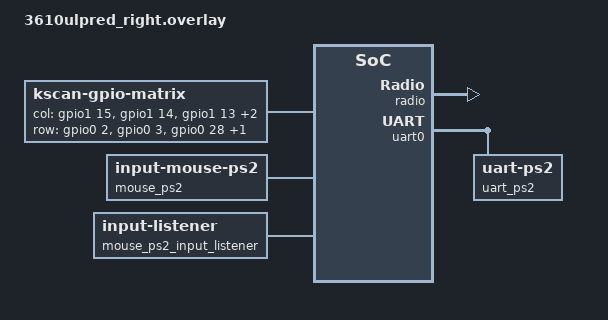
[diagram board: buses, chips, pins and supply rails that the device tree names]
#include "3610ulpred.dtsi"
#include <dt-bindings/zmk/input_transform.h>
#include <input/processors.dtsi>

&default_transform {
	col-offset = <5>;
};

/{
    kscan0: kscan {
        compatible = "zmk,kscan-gpio-matrix";
        label = "KSCAN";
        diode-direction = "col2row";
    // Right half: kscan col index 0 = innermost physical column.
    // Net names on the right sheet run col10 (inner) -> col14 (outer).
    col-gpios
    	= <&gpio1 15 GPIO_ACTIVE_HIGH>//net col10, P1.15 (transform col 5, inner)
        , <&gpio1 14 GPIO_ACTIVE_HIGH>//net col11, P1.14 (transform col 6)
        , <&gpio1 13 GPIO_ACTIVE_HIGH>//net col12, P1.13 (transform col 7)
        , <&gpio1 12 GPIO_ACTIVE_HIGH>//net col13, P1.12 (transform col 8)
        , <&gpio1 11 GPIO_ACTIVE_HIGH>//net col14, P1.11 (transform col 9, outer)
        ;
	row-gpios
        = <&gpio0 2 (GPIO_ACTIVE_HIGH | GPIO_PULL_DOWN)>   //net row10, P0.02 (top)
        , <&gpio0 3 (GPIO_ACTIVE_HIGH | GPIO_PULL_DOWN)>   //net row11, P0.03
        , <&gpio0 28 (GPIO_ACTIVE_HIGH | GPIO_PULL_DOWN)>  //net row12, P0.28
        , <&gpio0 29 (GPIO_ACTIVE_HIGH | GPIO_PULL_DOWN)>  //net row13, P0.29 (bottom)
        ;
    };
};

/*
 * PS/2 TrackPoint via UART (kb_zmk_ps2_mouse_trackpoint_driver module) — ENABLED
 *
 * Hardware chain: Sprintek SK8707-50/51 pointing stick -> 36daughter2 board
 * (module in J5, 8-pin FPC) -> daughter J1/J2 12-pin bus -> keyboard J3.
 * Daughter J5 maps the SK8707 pins onto the J3 bus nets as:
 *   SK8707 1 VCC      -> +3V3
 *   SK8707 2 IPD RST  -> daughter J5 pin 2 = CS/SS net = P0.31 (XIAO Plus only)
 *                        regular XIAO: RST driven on NFC2/P0.10 (net DR, J3 pin 5);
 *                        daughter2 currently lands DR on J5 pin 7 — route DR to
 *                        J5 pin 2 for the regular-XIAO option. Active high, int. pull-down.
 *   SK8707 3 GND      -> GND
 *   SK8707 4 IPD DATA -> SDA net    = P0.04  (UART RX)
 *   SK8707 5 IPD CLK  -> SCL net    = P0.05  (GPIO)
 *   SK8707 6/7/8 LEFT/MIDDLE/RIGHT -> MOSI/DR/MISO nets — buttons unused
 *   Dummy UART TX:        P0.27  (internal, not exposed)
 *   Dummy UART RX (off):  P1.01  (net EncoderA/GPIO1 — unused, parking only)
 *
 * Build the right half with:
 *   -DZMK_EXTRA_MODULES="/workspaces/zmk/app/kb_zmk_ps2_mouse_trackpoint_driver-main"
 */
#define MOUSE_PS2_DRIVER_UART

#define MOUSE_PS2_PIN_SCL <&gpio0 5 GPIO_ACTIVE_HIGH>
#define MOUSE_PS2_PIN_SDA <&gpio0 4 GPIO_ACTIVE_HIGH>
#define MOUSE_PS2_PIN_SDA_PINCTRL <NRF_PSEL(UART_RX, 0, 4)>
/* RST pin — pick by XIAO variant. RST is a static/low-frequency signal, so any
 * GPIO qualifies; the choice is about which pads the module exposes:
 *   regular XIAO nRF52840: NFC2 / P0.10 (net DR). NFC1/NFC2 are released as
 *                          GPIOs by the &uicr { nfct-pins-as-gpios; } node below.
 *   XIAO nRF52840 Plus:    P0.31 (net CS/SS) — only the Plus exposes P0.31 (D16). */
#define MOUSE_PS2_PIN_RST <&gpio0 10 GPIO_ACTIVE_HIGH>   /* regular XIAO: NFC2 P0.10 (net DR) */
// #define MOUSE_PS2_PIN_RST <&gpio0 31 GPIO_ACTIVE_HIGH>   /* XIAO Plus: P0.31 (net CS/SS) */

#define MOUSE_PS2_UART_BAUD_RATE <14400>

#define MOUSE_PS2_PIN_UNEXPOSED_TX <NRF_PSEL(UART_TX, 0, 27)>
#define MOUSE_PS2_PIN_UNEXPOSED_RX <NRF_PSEL(UART_RX, 1, 1)>

/*
 * Regular XIAO nRF52840: release NFC1/NFC2 (P0.09/P0.10) as plain GPIOs.
 * Zephyr 4.1: this devicetree property is the current mechanism; the old
 * CONFIG_NFCT_PINS_AS_GPIOS Kconfig still exists but is marked DEPRECATED.
 * hal_nordic turns the property into the NFCT_PINS_AS_GPIOS define for the MDK,
 * which writes UICR.NFCPINS once on first boot (persists until a UICR erase).
 * Harmless on a XIAO Plus.
 */
&uicr {
    nfct-pins-as-gpios;
};

/*
 * Interrupt priority overrides — gpiote at highest (0), all others demoted to 3
 * (required by the PS/2 driver for reliable bit timing on nRF52)
 */
&gpiote { interrupts = < 6 0 >; };
&clock { interrupts = < 0 3 >; };
&power { interrupts = < 0 3 >; };
&radio { interrupts = < 1 3 >; };
&uart0 { interrupts = < 2 3 >; };
&i2c0 { interrupts = < 3 3 >; };
&spi0 { interrupts = < 3 3 >; };
&i2c1 { interrupts = < 4 3 >; };
&spi1 { interrupts = < 4 3 >; };
&nfct { interrupts = < 5 3 >; };
&adc { interrupts = < 7 3 >; };
&timer0 { interrupts = < 8 3 >; };
&timer1 { interrupts = < 9 3 >; };
&timer2 { interrupts = < 10 3 >; };
&rtc0 { interrupts = < 11 3 >; };
&temp { interrupts = < 12 3 >; };
&rng { interrupts = < 13 3 >; };
&ecb { interrupts = < 14 3 >; };
&ccm { interrupts = < 15 3 >; };
&wdt { interrupts = < 16 3 >; };
&rtc1 { interrupts = < 17 3 >; };
&qdec { interrupts = < 18 3 >; };
&comp { interrupts = < 19 3 >; };
&egu0 { interrupts = < 20 3 >; };
&egu1 { interrupts = < 21 3 >; };
&egu2 { interrupts = < 22 3 >; };
&egu3 { interrupts = < 23 3 >; };
&egu4 { interrupts = < 24 3 >; };
&egu5 { interrupts = < 25 3 >; };
&timer3 { interrupts = < 26 3 >; };
&timer4 { interrupts = < 27 3 >; };
&pwm0 { interrupts = < 28 3 >; };
&pdm0 { interrupts = < 29 3 >; };
&pwm1 { interrupts = < 33 3 >; };
&pwm2 { interrupts = < 34 3 >; };
&spi2 { interrupts = < 35 3 >; };
&rtc2 { interrupts = < 36 3 >; };
&i2s0 { interrupts = < 37 3 >; };
&usbd { interrupts = < 39 3 >; };
&uart1 { interrupts = < 40 3 >; };
&qspi { interrupts = < 41 3 >; };
&pwm3 { interrupts = < 45 3 >; };
&spi3 { interrupts = < 47 3 >; };
&cryptocell { interrupts = < 42 3 >; };

/*
 * Pinctrl — UART0 states for PS/2
 */
&pinctrl {
	uart0_ps2_default: uart0_ps2_default {
		group1 {
			psels = MOUSE_PS2_PIN_UNEXPOSED_TX,
					MOUSE_PS2_PIN_SDA_PINCTRL;
		};
	};
	uart0_ps2_sleep: uart0_ps2_sleep {
		group1 {
			psels = MOUSE_PS2_PIN_UNEXPOSED_TX,
					MOUSE_PS2_PIN_SDA_PINCTRL;
			low-power-enable;
		};
	};
	uart0_ps2_off: uart0_ps2_off {
		group1 {
			psels = MOUSE_PS2_PIN_UNEXPOSED_TX,
					MOUSE_PS2_PIN_UNEXPOSED_RX;
		};
	};
};

/*
 * UART0 — reconfigured for PS/2 (parent must be okay: the uart-ps2 driver
 * binds to it via DEVICE_DT_GET(DT_INST_BUS))
 */
&uart0 {
    status = "okay";
    compatible = "nordic,nrf-uarte";
    current-speed = MOUSE_PS2_UART_BAUD_RATE;
    pinctrl-0 = <&uart0_ps2_default>;
    pinctrl-1 = <&uart0_ps2_off>;
    pinctrl-names = "default", "sleep";

    uart_ps2: uart_ps2 {
        status = "okay";
        compatible = "uart-ps2";
        scl-gpios = MOUSE_PS2_PIN_SCL;
        sda-gpios = MOUSE_PS2_PIN_SDA;
    };
};

/*
 * PS/2 Mouse input device and listener
 */
/ {
    mouse_ps2: mouse_ps2 {
        status = "okay";
        compatible = "zmk,input-mouse-ps2";
        ps2-device = <&uart_ps2>;
        rst-gpios = MOUSE_PS2_PIN_RST;
    };

    /* Mainline ZMK input listener. The module's own zmk,input-listener-ps2
     * (input_listener_ps2.c) predates the pointing refactor and no longer
     * compiles (includes zmk/mouse/types.h); the mouse_ps2 device emits
     * standard zephyr input events, so the stock listener handles it. */
    mouse_ps2_input_listener: mouse_ps2_input_listener {
        compatible = "zmk,input-listener";
        status = "okay";
        device = <&mouse_ps2>;
    };
};
